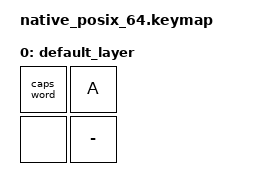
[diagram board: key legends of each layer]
#include <dt-bindings/zmk/keys.h>
#include <behaviors.dtsi>
#include <dt-bindings/zmk/kscan_mock.h>

/* No idle-timeout-ms: stock behaviour, caps word waits forever. */
&caps_word {
    exit = <&kp F14>;
};

/ {
    keymap {
        compatible = "zmk,keymap";

        default_layer {
            bindings = <
                &caps_word &kp A
                &none      &kp MINUS>;
        };
    };
};

&kscan {
    events = <
        ZMK_MOCK_PRESS(0,0,10)
        ZMK_MOCK_RELEASE(0,0,10000)
        /* A after 10 s idle: still shifted, no F14 */
        ZMK_MOCK_PRESS(0,1,10)
        ZMK_MOCK_RELEASE(0,1,10)
        /* MINUS breaks the word: F14 */
        ZMK_MOCK_PRESS(1,1,10)
        ZMK_MOCK_RELEASE(1,1,10)
    >;
};
